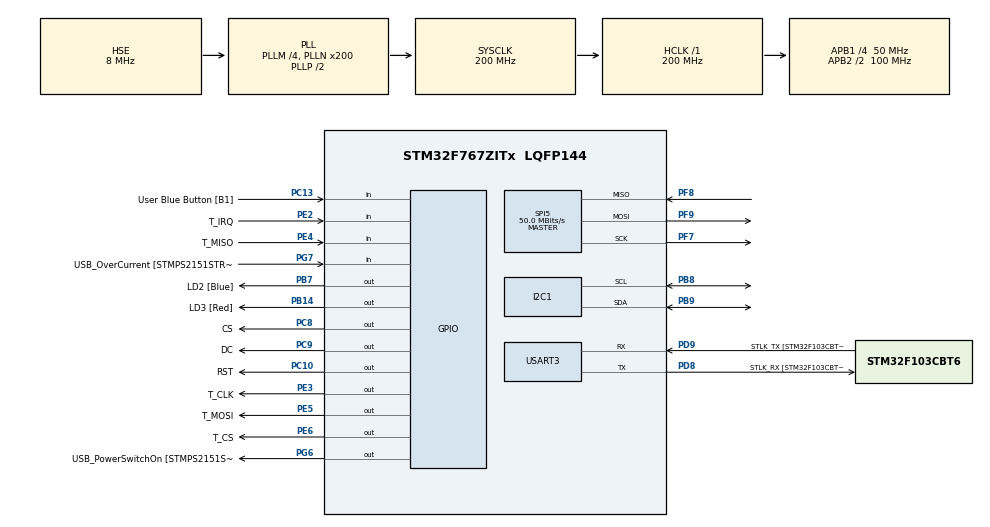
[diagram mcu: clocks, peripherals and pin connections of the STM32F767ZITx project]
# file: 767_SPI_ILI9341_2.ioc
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CORTEX_M7.ART_ACCLERATOR_ENABLE=1
CORTEX_M7.CPU_DCache=Enabled
CORTEX_M7.CPU_ICache=Enabled
CORTEX_M7.PREFETCH_ENABLE=1
I2C1.Timing=0x00C0EAFF
Mcu.Family=STM32F7
Mcu.Name=STM32F767ZITx
Mcu.Package=LQFP144
NVIC.PriorityGroup=NVIC_PRIORITYGROUP_4
PA1.GPIO_Label=RMII_REF_CLK [LAN8742A-CZ-TR_REFCLK0]
PA1.Signal=ETH_REF_CLK
PA13.GPIO_Label=TMS
PA13.Mode=Serial_Wire
PA13.Signal=SYS_JTMS-SWDIO
PA14.GPIO_Label=TCK
PA14.Mode=Serial_Wire
PA14.Signal=SYS_JTCK-SWCLK
PA2.GPIO_Label=RMII_MDIO [LAN8742A-CZ-TR_MDIO]
PA2.Signal=ETH_MDIO
PA7.GPIO_Label=RMII_CRS_DV [LAN8742A-CZ-TR_CRS_DV]
PA7.Signal=ETH_CRS_DV
PB13.GPIO_Label=RMII_TXD1 [LAN8742A-CZ-TR_TXD1]
PB13.Signal=ETH_TXD1
PB14.GPIO_Label=LD3 [Red]
PB14.Signal=GPIO_Output
PB3.GPIO_Label=SWO
PB3.Signal=SYS_JTDO-SWO
PB7.GPIO_Label=LD2 [Blue]
PB7.Signal=GPIO_Output
PB8.Mode=I2C
PB8.Signal=I2C1_SCL
PB9.Mode=I2C
PB9.Signal=I2C1_SDA
PC1.GPIO_Label=RMII_MDC [LAN8742A-CZ-TR_MDC]
PC1.Signal=ETH_MDC
PC10.GPIO_Label=RST
PC10.GPIO_Speed=GPIO_SPEED_FREQ_VERY_HIGH
PC10.Signal=GPIO_Output
PC13.GPIO_Label=User Blue Button [B1]
PC13.Signal=GPIO_Input
PC14/OSC32_IN.Mode=LSE-External-Oscillator
PC14/OSC32_IN.Signal=RCC_OSC32_IN
PC15/OSC32_OUT.Mode=LSE-External-Oscillator
PC15/OSC32_OUT.Signal=RCC_OSC32_OUT
PC4.GPIO_Label=RMII_RXD0 [LAN8742A-CZ-TR_RXD0]
PC4.Signal=ETH_RXD0
PC5.GPIO_Label=RMII_RXD1 [LAN8742A-CZ-TR_RXD1]
PC5.Signal=ETH_RXD1
PC8.GPIO_Label=CS
PC8.GPIO_Speed=GPIO_SPEED_FREQ_VERY_HIGH
PC8.Signal=GPIO_Output
PC9.GPIO_Label=DC
PC9.GPIO_Speed=GPIO_SPEED_FREQ_VERY_HIGH
PC9.Signal=GPIO_Output
PD8.GPIO_Label=STLK_RX [STM32F103CBT6_PA3]
PD8.Mode=Asynchronous
PD8.Signal=USART3_TX
PD9.GPIO_Label=STLK_TX [STM32F103CBT6_PA2]
PD9.Mode=Asynchronous
PD9.Signal=USART3_RX
PE2.GPIO_Label=T_IRQ
PE2.Signal=GPIO_Input
PE3.GPIO_Label=T_CLK
PE3.GPIO_Speed=GPIO_SPEED_FREQ_VERY_HIGH
PE3.Signal=GPIO_Output
PE4.GPIO_Label=T_MISO
PE4.Signal=GPIO_Input
PE5.GPIO_Label=T_MOSI
PE5.GPIO_Speed=GPIO_SPEED_FREQ_VERY_HIGH
PE5.Signal=GPIO_Output
PE6.GPIO_Label=T_CS
PE6.GPIO_Speed=GPIO_SPEED_FREQ_VERY_HIGH
PE6.Signal=GPIO_Output
PF7.Mode=Full_Duplex_Master
PF7.Signal=SPI5_SCK
PF8.Mode=Full_Duplex_Master
PF8.Signal=SPI5_MISO
PF9.Mode=Full_Duplex_Master
PF9.Signal=SPI5_MOSI
PG11.GPIO_Label=RMII_TX_EN [LAN8742A-CZ-TR_TXEN]
PG11.Signal=ETH_TX_EN
PG13.GPIO_Label=RMII_TXD0 [LAN8742A-CZ-TR_TXD0]
PG13.Signal=ETH_TXD0
PG6.GPIO_Label=USB_PowerSwitchOn [STMPS2151STR_EN]
PG6.Signal=GPIO_Output
PG7.GPIO_Label=USB_OverCurrent [STMPS2151STR_FAULT]
PG7.Signal=GPIO_Input
PH0/OSC_IN.GPIO_Label=MCO [STM32F103CBT6_PA8]
PH0/OSC_IN.Mode=HSE-External-Clock-Source
PH0/OSC_IN.Signal=RCC_OSC_IN
PH1/OSC_OUT.Mode=HSE-External-Clock-Source
PH1/OSC_OUT.Signal=RCC_OSC_OUT
ProjectManager.HeapSize=0x200
ProjectManager.StackSize=0x400
ProjectManager.TargetToolchain=STM32CubeIDE
RCC.48MHZClocksFreq_Value=24000000
RCC.AHBFreq_Value=200000000
RCC.APB1CLKDivider=RCC_HCLK_DIV4
RCC.APB1Freq_Value=50000000
RCC.APB1TimFreq_Value=100000000
RCC.APB2CLKDivider=RCC_HCLK_DIV2
RCC.APB2Freq_Value=100000000
RCC.APB2TimFreq_Value=200000000
RCC.CortexFreq_Value=200000000
RCC.HCLKFreq_Value=200000000
RCC.HSE_VALUE=8000000
RCC.HSI_VALUE=16000000
RCC.PLLM=4
RCC.PLLMUL=RCC_PLL_MUL9
RCC.PLLN=200
RCC.PLLQ=9
RCC.PLLSourceVirtual=RCC_PLLSOURCE_HSE
RCC.PRESCALERUSB=RCC_USBCLKSOURCE_PLL_DIV1_5
RCC.SYSCLKFreq_VALUE=200000000
RCC.SYSCLKSource=RCC_SYSCLKSOURCE_PLLCLK
RCC.SYSCLKSourceVirtual=RCC_SYSCLKSOURCE_PLLCLK
RCC.USBFreq_Value=44444444.44444445
RCC.VCOOutputFreq_Value=400000000
SPI5.CalculateBaudRate=50.0 MBits/s
SPI5.DataSize=SPI_DATASIZE_8BIT
SPI5.Direction=SPI_DIRECTION_2LINES
SPI5.Mode=SPI_MODE_MASTER
SPI5.NSSPMode=SPI_NSS_PULSE_DISABLE
SPI5.VirtualType=VM_MASTER
TIM1.ClockDivision=TIM_CLOCKDIVISION_DIV1
TIM1.Period=65536-1
TIM1.Prescaler=20000-1
USART3.VirtualMode-Asynchronous=VM_ASYNC
VP_RNG_VS_RNG.Mode=RNG_Activate
VP_TIM1_VS_ClockSourceINT.Mode=Internal
board=NUCLEO-F767ZI

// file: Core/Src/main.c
#include "main.h"
#include "i2c.h"
#include "rng.h"
#include "spi.h"
#include "tim.h"
#include "usart.h"
#include "gpio.h"

/* USER CODE BEGIN Includes */
#include "stdio.h"
#include <string.h>
#include "ILI9341_Touchscreen.h"

#include "ILI9341_STM32_Driver.h"
#include "ILI9341_GFX.h"

#include "snow_tiger.h"
/* USER CODE END Includes */

/* USER CODE BEGIN PV */
/* Private variables ---------------------------------------------------------*/
extern I2C_HandleTypeDef hi2c1;
extern UART_HandleTypeDef huart3;

float h=99.0, t=99.0;
uint8_t step = 0;
HAL_StatusTypeDef status;

uint16_t red_intensity = 0, green_intensity = 0, blue_intensity = 0;  // RGB brightness values (0-255)
const uint8_t max_intensity = 255; // Set a maximum intensity threshold
const uint8_t increment_value = 50; // How much to increase on each touch
uint8_t redTouchCount = 0;
uint8_t greenTouchCount = 0;
uint8_t blueTouchCount = 0;
uint8_t totalTouchCount = 0;
uint16_t rgb_color = 0;  // Mixed color
uint8_t touch_x, touch_y;

//uint16_t total_length_r = 0;
//uint16_t filled_length_r = 0;
int percentage_r = 0;
int percentage_g = 0;
int percentage_b = 0;

/* USER CODE END PV */

void SystemClock_Config(void);
uint16_t CRC16_2(uint8_t *, uint8_t);
/* USER CODE BEGIN PFP */
/* Private function prototypes -----------------------------------------------*/

/* USER CODE END PFP */

/* USER CODE BEGIN 0 */
//uint16_t brightness_to_color(uint8_t brightness) {
//    return brightness * 255 / 100;
//}

// Function to mix colors and display
/* USER CODE END 0 */

int main(void)
{
  /* USER CODE BEGIN 1 */
  char str[50];
  uint8_t cmdBuffer[3];
  uint8_t dataBuffer[8];
  /* USER CODE END 1 */

  /* Enable I-Cache---------------------------------------------------------*/
  SCB_EnableICache();

  /* Enable D-Cache---------------------------------------------------------*/
  SCB_EnableDCache();

  /* MCU Configuration--------------------------------------------------------*/

  /* Reset of all peripherals, Initializes the Flash interface and the Systick. */
  HAL_Init();

  /* Configure the system clock */
  SystemClock_Config();

  /* Initialize all configured peripherals */
  MX_GPIO_Init();
  MX_USART3_UART_Init();
  MX_SPI5_Init();
  MX_TIM1_Init();
  MX_RNG_Init();
  MX_I2C1_Init();
  /* USER CODE BEGIN 2 */
  ILI9341_Init();//initial driver setup to drive ili9341

  sprintf(str, "\n\rAM2320 I2C DEMO Starting .. .\n\r");
  HAL_UART_Transmit(&huart3, (uint8_t*)str, strlen(str), 200);

  cmdBuffer[0] = 0x03;  // Command to read register
  cmdBuffer[1] = 0x00;  // Starting address
  cmdBuffer[2] = 0x04;  // Read 4 bytes (temperature + humidity)
  /* USER CODE END 2 */

  /* Infinite loop */
  /* USER CODE BEGIN WHILE */
  while (1)
  {
	  //----------------------------------------------------------TOUCHSCREEN EXAMPLE
	  		ILI9341_Fill_Screen(WHITE);
	  		ILI9341_Set_Rotation(SCREEN_HORIZONTAL_1);

	  		while(1){
//	  			ILI9341_Draw_Text(str, "Temperature = %4.1f\tHumidity = %4.1f\n\r", t, h);
	  			char display_buff[30];

	  			// Print Temperature at top-left corner

//	  			ILI9341_Set_Rotation(SCREEN_VERTICAL_1);
	  			while (__HAL_UART_GET_FLAG(&huart3, UART_FLAG_TC) == RESET) {}
	  			HAL_UART_Transmit(&huart3, (uint8_t*)str, strlen(str), 200);

	  			HAL_Delay(5000);
	  			HAL_GPIO_TogglePin(GPIOB, GPIO_PIN_0);

	  			        // Wake up the sensor
	  			HAL_I2C_Master_Transmit(&hi2c1, 0x5c << 1, NULL, 0, 200);
	  			HAL_Delay(800);  // Allow time for sensor to wake up

	  			        // Send read command to sensor
	  			status = HAL_I2C_Master_Transmit(&hi2c1, 0x5c << 1, cmdBuffer, 3, 200);
	  			if (status != HAL_OK)
	  			{
	  			   sprintf(str, "I2C Transmit Error, Status: %d\n\r", status);
	  			   HAL_UART_Transmit(&huart3, (uint8_t*)str, strlen(str), 200);
	  			   continue;
	  			}

	  			HAL_Delay(2);  // Wait for sensor response

	  			        // Receive data from sensor
	  			status = HAL_I2C_Master_Receive(&hi2c1, 0x5c << 1, dataBuffer, 8, 200);
	  			if (status != HAL_OK)
	  			{
	  			   sprintf(str, "I2C Receive Error\n\r");
	  			   HAL_UART_Transmit(&huart3, (uint8_t*)str, strlen(str), 200);
	  			   continue;  // Skip if there's a receive error
	  			}

	  			        // Validate CRC
	  			uint16_t Rcrc = dataBuffer[7] << 8 | dataBuffer[6];
	  			if (Rcrc == CRC16_2(dataBuffer, 6))
	  			{
	  			   uint16_t temperature = ((dataBuffer[4] & 0x7F) << 8) + dataBuffer[5];
	  			   t = temperature / 10.0;
	  			   t = (((dataBuffer[4] & 0x80) >> 7) == 1) ? (t * (-1)) : t;

	  			   uint16_t humidity = (dataBuffer[2] << 8) + dataBuffer[3];
	  			   h = humidity / 10.0;
	  			 }
	  			 else
	  			 {
	  			   sprintf(str, "CRC mismatch\n\r");
	  			   HAL_UART_Transmit(&huart3, (uint8_t*)str, strlen(str), 200);
	  			 }

	  			  ILI9341_Draw_Filled_Circle(40, 65, 20, 0xF800);   // Red circle
	  			  ILI9341_Draw_Filled_Rectangle_Coord(80, 55, 250, 80, 0xFC10);  // Red scrollbar

	  			  ILI9341_Draw_Filled_Circle(40, 125, 20, 0x07E0);  // Green circle
	  			  ILI9341_Draw_Filled_Rectangle_Coord(80, 115, 250, 140, 0x07F0);  // Green scrollbar

	  			  ILI9341_Draw_Filled_Circle(40, 185, 20, 0x001F);  // Blue circle
	  			  ILI9341_Draw_Filled_Rectangle_Coord(80, 175, 250, 200, 0x041F);  // Blue scrollbar

	  			  sprintf(display_buff, "%.1fC  ", t);
	  			  ILI9341_Draw_Text(display_buff, 15, 15, BLACK, 2, WHITE); // Use (0, 0) for top-left

//	  			  rgb_color = ((scaled_red & 0xF8) << 8) | ((scaled_green & 0xFC) << 3) | (scaled_blue >> 3);  // RGB565 format
	  			  ILI9341_Draw_Filled_Circle(100, 20, 15, BLACK);  // Display mixed color

	  			  sprintf(display_buff, "  %.1fRH", h);
	  			  ILI9341_Draw_Text(display_buff, 120, 15, BLACK, 2, WHITE); // Adjusted position

	  			  HAL_Delay(500);

	  			  while(1)
	  				  		{
	  				  			HAL_Delay(20);

	  				  			if(TP_Touchpad_Pressed())
	  				          {

	  				  					uint16_t x_pos = 0;
	  				  					uint16_t y_pos = 0;

	  				  					HAL_GPIO_WritePin(GPIOB, LD3_Pin|LD2_Pin, GPIO_PIN_SET);

	  				  					uint16_t position_array[2];

	  				  					if(TP_Read_Coordinates(position_array) == TOUCHPAD_DATA_OK)
	  				  					{
	  				  					x_pos = position_array[0];
	  				  					y_pos = position_array[1];
//	  				  					ILI9341_Draw_Filled_Circle(x_pos, y_pos, 2, BLACK);

											ILI9341_Set_Rotation(SCREEN_HORIZONTAL_1);
//											char counter_buff[30];
//											sprintf(counter_buff, "POS X: %.3d", x_pos);
//											ILI9341_Draw_Text(counter_buff, 10, 80, BLACK, 2, WHITE);
//											sprintf(counter_buff, "POS Y: %.3d", y_pos);
//											ILI9341_Draw_Text(counter_buff, 10, 120, BLACK, 2, WHITE);

											if (x_pos >= 164 && x_pos <= 187 && y_pos >= 83 && y_pos <= 250){
//												ILI9341_Draw_Filled_Circle(100, 20, 15, 0xF800);
												red_intensity = (red_intensity + increment_value > max_intensity) ? max_intensity : red_intensity + increment_value;
												redTouchCount++;

												ILI9341_Draw_Filled_Rectangle_Coord(80, 55, y_pos, 80, 0xC0C0);  // Silver scrollbar
												ILI9341_Draw_Filled_Rectangle_Coord(y_pos, 55, 250, 80, 0xFC10);  // Red scrollbar

//												ILI9341_Draw_Filled_Rectangle_Coord(80, 55, 250, 80, 0xFC10);  // Red scrollbar

												uint16_t total_length_r = 250 - 80;
												uint16_t filled_length_r = y_pos - 80;
												if (filled_length_r < 0) {
												    filled_length_r = 0;
												}
												percentage_r = ((float)filled_length_r / (float)total_length_r) * 100;
												char redBuffer[30];
												sprintf(redBuffer, "%d%%", percentage_r);
												ILI9341_Draw_Text(redBuffer, 230, 65, BLACK, 2, WHITE);
											}
											if (x_pos >= 100 && x_pos <= 125 && y_pos >= 83 && y_pos <= 250){
//												ILI9341_Draw_Filled_Circle(100, 20, 15, 0x07E0);
												green_intensity = (green_intensity + increment_value > max_intensity) ? max_intensity : green_intensity + increment_value;
												greenTouchCount++;
												ILI9341_Draw_Filled_Rectangle_Coord(80, 115, y_pos, 140, 0xC0C0);  // Silver scrollbar
												ILI9341_Draw_Filled_Rectangle_Coord(y_pos, 115, 250, 140, 0x07F0);  // Green scrollbar

												uint16_t total_length_g = 250 - 80;
												uint16_t filled_length_g = y_pos - 80;
												if (filled_length_g < 0) {
												    filled_length_g = 0;
												}
												percentage_g = ((float)filled_length_g / (float)total_length_g) * 100;
												char greenBuffer[30];
												sprintf(greenBuffer, "%d%%", percentage_g);
												ILI9341_Draw_Text(greenBuffer, 230, 125, BLACK, 2, WHITE);
											}
											if (x_pos >= 40 && x_pos <= 63 && y_pos >= 83 && y_pos <= 250){
//												ILI9341_Draw_Filled_Circle(100, 20, 15, 0x001F);
												blue_intensity = (blue_intensity + increment_value > max_intensity) ? max_intensity : blue_intensity + increment_value;
												blueTouchCount++;
												ILI9341_Draw_Filled_Rectangle_Coord(80, 175, y_pos, 200, 0xC0C0);  // Silver scrollbar
												ILI9341_Draw_Filled_Rectangle_Coord(y_pos, 175, 250, 200, 0x041F);  // Blue scrollbar

												uint16_t total_length_b = 250 - 80;
												uint16_t filled_length_b = y_pos - 80;
												if (filled_length_b < 0) {
												    filled_length_b = 0;
												}
												percentage_b = ((float)filled_length_b / (float)total_length_b) * 100;
												char blueBuffer[30];
												sprintf(blueBuffer, "%d%%", percentage_b);
												ILI9341_Draw_Text(blueBuffer, 230, 185, BLACK, 2, WHITE);
											}

											uint16_t red_intensity   = (percentage_r * 31) / 100;  // Red uses 5 bits (0-31)
											uint16_t green_intensity = (percentage_g * 63) / 100;  // Green uses 6 bits (0-63)
											uint16_t blue_intensity  = (percentage_b * 31) / 100;  // Blue uses 5 bits (0-31)

											uint16_t mix_color = (red_intensity << 11) | (green_intensity << 5) | blue_intensity;

//											uint16_t color = (red_intensity * 31 / max_intensity) << 11 |
//											                             (green_intensity * 63 / max_intensity) << 5 |
//											                             (blue_intensity * 31 / max_intensity);

											            // Draw the filled circle with the new mixed color
											ILI9341_Draw_Filled_Circle(100, 20, 15, mix_color);
											ILI9341_Set_Rotation(SCREEN_VERTICAL_1);

	  				  					}

//	  				  					ILI9341_Draw_Pixel(x_pos, y_pos, BLACK);
	  				          }
	  				  			else
	  				  			{
	  				  				HAL_GPIO_WritePin(GPIOB, LD3_Pin|LD2_Pin, GPIO_PIN_RESET);
	  				  			}

	  				  		}
	  		}
  }
  /* USER CODE END 3 */
}

void SystemClock_Config(void)
{
  RCC_OscInitTypeDef RCC_OscInitStruct = {0};
  RCC_ClkInitTypeDef RCC_ClkInitStruct = {0};
  RCC_PeriphCLKInitTypeDef PeriphClkInitStruct = {0};

  /** Configure LSE Drive Capability
  */
  HAL_PWR_EnableBkUpAccess();
  /** Configure the main internal regulator output voltage
  */
  __HAL_RCC_PWR_CLK_ENABLE();
  __HAL_PWR_VOLTAGESCALING_CONFIG(PWR_REGULATOR_VOLTAGE_SCALE1);
  /** Initializes the RCC Oscillators according to the specified parameters
  * in the RCC_OscInitTypeDef structure.
  */
  RCC_OscInitStruct.OscillatorType = RCC_OSCILLATORTYPE_HSE;
  RCC_OscInitStruct.HSEState = RCC_HSE_BYPASS;
  RCC_OscInitStruct.PLL.PLLState = RCC_PLL_ON;
  RCC_OscInitStruct.PLL.PLLSource = RCC_PLLSOURCE_HSE;
  RCC_OscInitStruct.PLL.PLLM = 4;
  RCC_OscInitStruct.PLL.PLLN = 200;
  RCC_OscInitStruct.PLL.PLLP = RCC_PLLP_DIV2;
  RCC_OscInitStruct.PLL.PLLQ = 9;
  RCC_OscInitStruct.PLL.PLLR = 2;
  if (HAL_RCC_OscConfig(&RCC_OscInitStruct) != HAL_OK)
  {
    Error_Handler();
  }
  /** Activate the Over-Drive mode
  */
  if (HAL_PWREx_EnableOverDrive() != HAL_OK)
  {
    Error_Handler();
  }
  /** Initializes the CPU, AHB and APB buses clocks
  */
  RCC_ClkInitStruct.ClockType = RCC_CLOCKTYPE_HCLK|RCC_CLOCKTYPE_SYSCLK
                              |RCC_CLOCKTYPE_PCLK1|RCC_CLOCKTYPE_PCLK2;
  RCC_ClkInitStruct.SYSCLKSource = RCC_SYSCLKSOURCE_PLLCLK;
  RCC_ClkInitStruct.AHBCLKDivider = RCC_SYSCLK_DIV1;
  RCC_ClkInitStruct.APB1CLKDivider = RCC_HCLK_DIV4;
  RCC_ClkInitStruct.APB2CLKDivider = RCC_HCLK_DIV2;

  if (HAL_RCC_ClockConfig(&RCC_ClkInitStruct, FLASH_LATENCY_6) != HAL_OK)
  {
    Error_Handler();
  }
  PeriphClkInitStruct.PeriphClockSelection = RCC_PERIPHCLK_USART3|RCC_PERIPHCLK_I2C1
                              |RCC_PERIPHCLK_CLK48;
  PeriphClkInitStruct.Usart3ClockSelection = RCC_USART3CLKSOURCE_PCLK1;
  PeriphClkInitStruct.I2c1ClockSelection = RCC_I2C1CLKSOURCE_PCLK1;
  PeriphClkInitStruct.Clk48ClockSelection = RCC_CLK48SOURCE_PLL;
  if (HAL_RCCEx_PeriphCLKConfig(&PeriphClkInitStruct) != HAL_OK)
  {
    Error_Handler();
  }
}

/* USER CODE BEGIN 4 */
uint16_t CRC16_2 (uint8_t *ptr, uint8_t length){
	          	uint16_t crc = 0xFFFF;
	          	uint8_t s = 0x00;
	          	while (length -- ) {
	          		crc ^= *ptr++;
	          		for(s = 0; s < 8; s++) {
	          			if((crc & 0x01) != 0) {
	          				crc >>= 1;
	          				crc ^= 0xA001;
	          			}else crc >>= 1;
	          		}
	          	}
	          	return crc;
	          }
/* USER CODE END 4 */

void Error_Handler(void)
{
  while(1)
  {
  }
}
